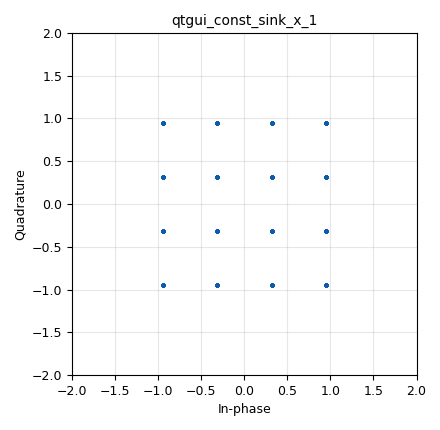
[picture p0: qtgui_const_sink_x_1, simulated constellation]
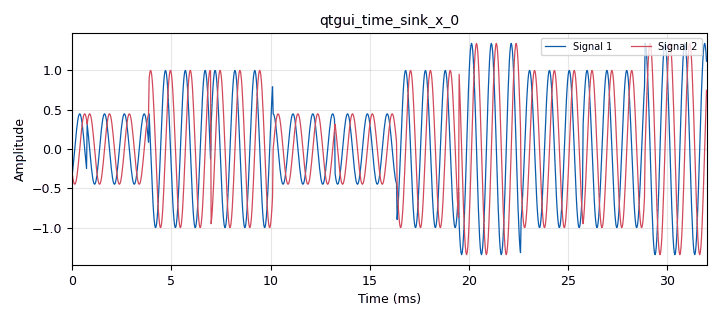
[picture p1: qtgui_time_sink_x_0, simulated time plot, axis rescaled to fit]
options:
  parameters:
    generate_options: qt_gui
    id: qam16_flowgraph
    output_language: python
    title: QAM16 Modulation
  states: {}

blocks:
- name: samp_rate
  id: variable
  parameters:
    value: '32000'
  states: {}
- name: analog_sig_source_x_0
  id: analog_sig_source_x
  parameters:
    amp: '1'
    freq: '1000'
    offset: '0'
    phase: '0'
    samp_rate: samp_rate
    type: complex
    waveform: analog.GR_COS_WAVE
  states: {}
- name: blocks_complex_to_float_1
  id: blocks_complex_to_float
  parameters: {}
  states: {}
- name: blocks_multiply_xx_0
  id: blocks_multiply_xx
  parameters:
    type: complex
  states: {}
- name: blocks_repeat_0
  id: blocks_repeat
  parameters:
    interp: '100'
    type: byte
  states: {}
- name: blocks_throttle2_0
  id: blocks_throttle2
  parameters:
    samples_per_second: samp_rate
    type: complex
  states: {}
- name: blocks_vector_source_x_0
  id: blocks_vector_source_x
  parameters:
    repeat: 'True'
    type: byte
    vector: '[0, 1, 2, 3, 4, 5, 6, 7, 8, 9, 10, 11, 12, 13, 14, 15]'
  states: {}
- name: epy_block_0
  id: epy_block
  parameters:
    _source_code: |-
      """
      Embedded Python Block - 16-QAM Modulator
      Convertit des symboles (0 à 15) en symboles 16-QAM
      """

      import numpy as np
      from gnuradio import gr

      class blk(gr.sync_block):
          """Bloc de modulation 16-QAM"""

          def __init__(self):
              gr.sync_block.__init__(
                  self,
                  name='16-QAM Modulator',
                  in_sig=[np.uint8],
                  out_sig=[np.complex64]
              )

          def work(self, input_items, output_items):
              """Convertit les symboles en 16-QAM"""
              symbols = input_items[0]
              out = output_items[0]
              
              # Niveaux d'amplitude pour 16-QAM
              # -3, -1, +1, +3
              # Normalisés pour avoir une puissance moyenne = 1
              levels = [-3.0, -1.0, 1.0, 3.0]
              
              # Table de mapping 16-QAM (grille 4x4)
              # Chaque symbole (0-15) correspond à une combinaison (I, Q)
              constellation = []
              for i in range(4):      # Pour chaque niveau I
                  for q in range(4):  # Pour chaque niveau Q
                      constellation.append(complex(levels[i], levels[q]))
              
              # Normalisation (puissance moyenne = 1)
              constellation = np.array(constellation) / np.sqrt(10.0)
              
              for i in range(len(symbols)):
                  sym = symbols[i] % 16
                  out[i] = constellation[sym]
              
              return len(symbols)
  states: {}
- name: qtgui_const_sink_x_1
  id: qtgui_const_sink_x
  parameters:
    size: '4096'
    type: complex
  states: {}
- name: qtgui_time_sink_x_0
  id: qtgui_time_sink_x
  parameters:
    nconnections: '2'
    size: '1024'
    srate: samp_rate
    type: float
  states: {}

connections:
- [analog_sig_source_x_0, '0', blocks_multiply_xx_0, '1']
- [blocks_complex_to_float_1, '0', qtgui_time_sink_x_0, '0']
- [blocks_complex_to_float_1, '1', qtgui_time_sink_x_0, '1']
- [blocks_multiply_xx_0, '0', blocks_complex_to_float_1, '0']
- [blocks_repeat_0, '0', epy_block_0, '0']
- [blocks_throttle2_0, '0', blocks_multiply_xx_0, '0']
- [blocks_throttle2_0, '0', qtgui_const_sink_x_1, '0']
- [blocks_vector_source_x_0, '0', blocks_repeat_0, '0']
- [epy_block_0, '0', blocks_throttle2_0, '0']

metadata:
  file_format: 1
  grc_version: 3.10.12.0
